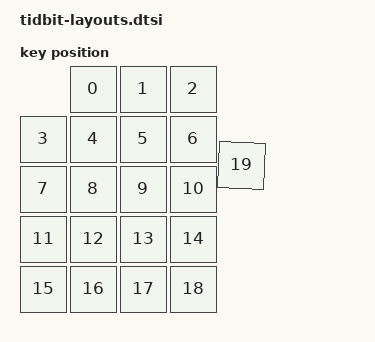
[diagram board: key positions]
#include "../../layouts/common/macropad/position_map.dtsi"
#include "../../physical_layouts.dtsi"

/ {
    layout_tidbit_19_key: layout_tidbit_19_key {
        compatible = "zmk,physical-layout";
        display-name = "Tidbit 19 Key Numpad with Encoder";

        keys  //                     w   h    x    y     rot    rx    ry
            = <&key_physical_attrs 100 100  100    0       0     0     0>  // Numlock
            , <&key_physical_attrs 100 100  200    0       0     0     0>  // Divide
            , <&key_physical_attrs 100 100  300    0       0     0     0>  // Asterisk
            
            , <&key_physical_attrs 100 100    0  100       0     0     0>  // 7
            , <&key_physical_attrs 100 100  100  100       0     0     0>  // 8
            , <&key_physical_attrs 100 100  200  100       0     0     0>  // 9
            , <&key_physical_attrs 100 100  300  100       0     0     0>  // Minus
            
            , <&key_physical_attrs 100 100    0  200       0     0     0>  // 4
            , <&key_physical_attrs 100 100  100  200       0     0     0>  // 5
            , <&key_physical_attrs 100 100  200  200       0     0     0>  // 6
            , <&key_physical_attrs 100 100  300  200       0     0     0>  // Plus
            
            , <&key_physical_attrs 100 100    0  300       0     0     0>  // 1
            , <&key_physical_attrs 100 100  100  300       0     0     0>  // 2
            , <&key_physical_attrs 100 100  200  300       0     0     0>  // 3
            , <&key_physical_attrs 100 100  300  300       0     0     0>  // Enter
            
            , <&key_physical_attrs 100 100    0  400       0     0     0>  // Function key
            , <&key_physical_attrs 100 100  100  400       0     0     0>  // 0
            , <&key_physical_attrs 100 100  200  400       0     0     0>  // Dot
            , <&key_physical_attrs 100 100  300  400       0     0     0>  // None
            
            , <&key_physical_attrs 100 100  400  150     270   400   150>  // Encoder
            ;
    };
};

&layouts_common_macropad_position_map {
    layout_tidbit_19_key {
        physical-layout = <&layout_tidbit_19_key>;
        positions
            = <                0  1  2>
            , <3  4  5  6>
            , <7  8  9  10>
            , <11 12 13 14>
            , <15 16 17 18>
            , <19>             // Encoder
            ;
    };
};
